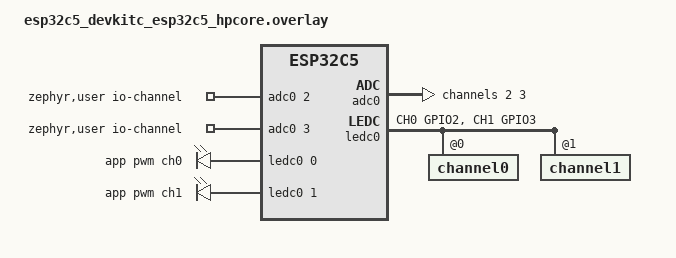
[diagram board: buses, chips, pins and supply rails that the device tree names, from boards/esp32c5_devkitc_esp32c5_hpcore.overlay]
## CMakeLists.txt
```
# SPDX-License-Identifier: Apache-2.0

cmake_minimum_required(VERSION 3.20.0)
find_package(Zephyr REQUIRED HINTS $ENV{ZEPHYR_BASE})
project(app_more_services3)

zephyr_syscall_header(${CMAKE_CURRENT_SOURCE_DIR}/src/svc.h)

target_sources(app PRIVATE src/main.c src/svc.c)
```

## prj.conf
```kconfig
CONFIG_USERSPACE=y
CONFIG_APPLICATION_DEFINED_SYSCALL=y

CONFIG_ADC=y
CONFIG_PWM=y

CONFIG_LOG=y
CONFIG_LOG_MODE_MINIMAL=y
CONFIG_THREAD_NAME=y

CONFIG_MAIN_STACK_SIZE=4096
```

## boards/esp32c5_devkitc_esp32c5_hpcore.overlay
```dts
/*
 * Copyright (c) 2026 Espressif Systems (Shanghai) Co., Ltd.
 *
 * SPDX-License-Identifier: Apache-2.0
 */

#include <zephyr/dt-bindings/pwm/pwm.h>

/ {
	zephyr,user {
		io-channels = <&adc0 2>, <&adc0 3>;
	};

	app_pwm: app_pwm {
		compatible = "pwm-leds";

		app_pwm_ch0: app_pwm_ch0 {
			pwms = <&ledc0 0 PWM_HZ(1000) PWM_POLARITY_NORMAL>;
			label = "app pwm ch0";
		};

		app_pwm_ch1: app_pwm_ch1 {
			pwms = <&ledc0 1 PWM_HZ(1000) PWM_POLARITY_NORMAL>;
			label = "app pwm ch1";
		};
	};

	aliases {
		app-pwm0 = &app_pwm_ch0;
		app-pwm1 = &app_pwm_ch1;
	};
};

/* ADC: two channels. */
&adc0 {
	#address-cells = <1>;
	#size-cells = <0>;
	status = "okay";

	channel@2 {
		reg = <2>;
		zephyr,gain = "ADC_GAIN_1_4";
		zephyr,reference = "ADC_REF_INTERNAL";
		zephyr,acquisition-time = <ADC_ACQ_TIME_DEFAULT>;
		zephyr,resolution = <12>;
	};

	channel@3 {
		reg = <3>;
		zephyr,gain = "ADC_GAIN_1_4";
		zephyr,reference = "ADC_REF_INTERNAL";
		zephyr,acquisition-time = <ADC_ACQ_TIME_DEFAULT>;
		zephyr,resolution = <12>;
	};
};

/* PWM: LEDC channel 0 on GPIO2, channel 1 on GPIO3. */
&pinctrl {
	ledc0_default: ledc0_default {
		group1 {
			pinmux = <LEDC_CH0_GPIO2>, <LEDC_CH1_GPIO3>;
			output-enable;
		};
	};
};

&ledc0 {
	pinctrl-0 = <&ledc0_default>;
	pinctrl-names = "default";
	status = "okay";
	#address-cells = <1>;
	#size-cells = <0>;

	channel0@0 {
		reg = <0x0>;
		timer = <0>;
	};

	channel1@1 {
		reg = <0x1>;
		timer = <0>;
	};
};
```

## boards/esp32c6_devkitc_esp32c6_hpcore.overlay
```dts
/*
 * Copyright (c) 2026 Espressif Systems (Shanghai) Co., Ltd.
 *
 * SPDX-License-Identifier: Apache-2.0
 */

#include <zephyr/dt-bindings/pwm/pwm.h>

/ {
	zephyr,user {
		io-channels = <&adc0 2>, <&adc0 3>;
	};

	app_pwm: app_pwm {
		compatible = "pwm-leds";

		app_pwm_ch: app_pwm_ch {
			pwms = <&ledc0 0 PWM_HZ(1000) PWM_POLARITY_NORMAL>;
			label = "app pwm";
		};
	};

	aliases {
		app-pwm = &app_pwm_ch;
	};
};

/* ADC: two channels. */
&adc0 {
	#address-cells = <1>;
	#size-cells = <0>;
	status = "okay";

	channel@2 {
		reg = <2>;
		zephyr,gain = "ADC_GAIN_1_4";
		zephyr,reference = "ADC_REF_INTERNAL";
		zephyr,acquisition-time = <ADC_ACQ_TIME_DEFAULT>;
		zephyr,resolution = <12>;
	};

	channel@3 {
		reg = <3>;
		zephyr,gain = "ADC_GAIN_1_4";
		zephyr,reference = "ADC_REF_INTERNAL";
		zephyr,acquisition-time = <ADC_ACQ_TIME_DEFAULT>;
		zephyr,resolution = <12>;
	};
};

/* PWM: LEDC channel 0 on GPIO2. */
&pinctrl {
	ledc0_default: ledc0_default {
		group1 {
			pinmux = <LEDC_CH0_GPIO2>;
			output-enable;
		};
	};
};

&ledc0 {
	pinctrl-0 = <&ledc0_default>;
	pinctrl-names = "default";
	status = "okay";
	#address-cells = <1>;
	#size-cells = <0>;

	channel0@0 {
		reg = <0x0>;
		timer = <0>;
	};
};
```

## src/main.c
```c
/*
 * Copyright (c) 2026 Espressif Systems (Shanghai) Co., Ltd.
 *
 * SPDX-License-Identifier: Apache-2.0
 */

/*
 * An app using the analog and PWM subsystems through services. It reads two ADC
 * channels and ramps a PWM output from off to full and back, dimming a pin. The
 * app runs in user mode and reaches the ADC and PWM hardware only through
 * service syscalls.
 */

#include "svc.h"

#include <zephyr/kernel.h>
#include <zephyr/sys/printk.h>
#include <errno.h>

#define STACK_SIZE 2048
#define APP_PRIO   5

extern void svc_init(void);

K_THREAD_STACK_DEFINE(app_stack, STACK_SIZE);
static struct k_thread app_thread;

static void app_entry(void *p1, void *p2, void *p3)
{
	ARG_UNUSED(p1); ARG_UNUSED(p2); ARG_UNUSED(p3);

	/* ADC: read two analog channels. */
	for (int ch = 0; ch < 2; ch++) {
		int v = svc_adc_read(ch);

		printk("  [app] ADC channel %d = %d\n", ch, v);
	}

	/* PWM: ramp the granted channel (0) up and down. */
	printk("  [app] ramping PWM channel 0 (granted)\n");
	for (int p = 0; p <= 100; p += 25) {
		int rc = svc_pwm_set(0, (uint8_t)p);

		printk("  [app] ch0 duty = %d%% (rc=%d)\n", p, rc);
		k_msleep(150);
	}
	svc_pwm_set(0, 0);

	/* PWM: channel 1 was NOT granted - the boundary rejects it. */
	int rc1 = svc_pwm_set(1, 50);

	printk("  [app] ch1 duty 50%% -> rc=%d (expected -EPERM=%d, ungranted)\n",
	       rc1, -EPERM);

	printk("  [app] done - read ADC, drove granted PWM, denied ungranted\n");
}

int main(void)
{
	printk("\n*** more services 3: ADC + PWM (C6) ***\n");
	svc_init();

	/* Grant the app PWM channel 0 only; channel 1 stays denied. */
	svc_pwm_grant(BIT(0));

	k_tid_t t = k_thread_create(&app_thread, app_stack, STACK_SIZE, app_entry,
				    NULL, NULL, NULL, APP_PRIO, K_USER, K_FOREVER);

	k_thread_start(t);
	k_thread_join(t, K_FOREVER);

	printk("\n*** done ***\n");
	return 0;
}
```

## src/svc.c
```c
/*
 * Copyright (c) 2026 Espressif Systems (Shanghai) Co., Ltd.
 *
 * SPDX-License-Identifier: Apache-2.0
 */

#include "svc.h"

#include <zephyr/kernel.h>
#include <zephyr/sys/printk.h>
#include <zephyr/device.h>
#include <zephyr/drivers/adc.h>
#include <zephyr/drivers/pwm.h>
#include <zephyr/internal/syscall_handler.h>

/* ADC channels declared under /zephyr,user. */
#define ADC_NODE DT_PATH(zephyr_user)
static const struct adc_dt_spec adc_ch[] = {
	ADC_DT_SPEC_GET_BY_IDX(ADC_NODE, 0),
	ADC_DT_SPEC_GET_BY_IDX(ADC_NODE, 1),
};
#define ADC_COUNT ARRAY_SIZE(adc_ch)

/* PWM output. */
static const struct pwm_dt_spec pwm_out = PWM_DT_SPEC_GET(DT_ALIAS(app_pwm));

void svc_init(void)
{
	for (int i = 0; i < ADC_COUNT; i++) {
		if (adc_is_ready_dt(&adc_ch[i])) {
			adc_channel_setup_dt(&adc_ch[i]);
		}
	}
}

int z_impl_svc_adc_read(int ch)
{
	if (ch < 0 || ch >= (int)ADC_COUNT || !adc_is_ready_dt(&adc_ch[ch])) {
		return -ENODEV;
	}
	int16_t raw = 0;
	struct adc_sequence seq = {
		.buffer = &raw,
		.buffer_size = sizeof(raw),
	};

	(void)adc_sequence_init_dt(&adc_ch[ch], &seq);
	int rc = adc_read_dt(&adc_ch[ch], &seq);

	return (rc == 0) ? (int)raw : rc;
}

int z_impl_svc_pwm_set(uint8_t percent)
{
	if (!pwm_is_ready_dt(&pwm_out)) {
		return -ENODEV;
	}
	if (percent > 100) {
		percent = 100;
	}
	uint32_t pulse = (uint32_t)((uint64_t)pwm_out.period * percent / 100);

	return pwm_set_pulse_dt(&pwm_out, pulse);
}

#ifdef CONFIG_USERSPACE
static inline int z_vrfy_svc_adc_read(int ch)
{
	return z_impl_svc_adc_read(ch);
}
#include <zephyr/syscalls/svc_adc_read_mrsh.c>

static inline int z_vrfy_svc_pwm_set(uint8_t percent)
{
	return z_impl_svc_pwm_set(percent);
}
#include <zephyr/syscalls/svc_pwm_set_mrsh.c>
#endif
```

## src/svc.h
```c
/*
 * Copyright (c) 2026 Espressif Systems (Shanghai) Co., Ltd.
 *
 * SPDX-License-Identifier: Apache-2.0
 */

#ifndef APP_MORE_SERVICES3_SVC_H_
#define APP_MORE_SERVICES3_SVC_H_

#include <zephyr/kernel.h>

/*
 * A third batch of services touching the analog and PWM subsystems:
 *
 *   svc_adc_read - read a raw value from an ADC channel (open: read-only).
 *   svc_pwm_set  - set the PWM duty on the controllable output, 0..100 percent
 *                  (scoped in a real system; the platform owns the channel).
 *
 * An app reads analog values and dims an output, reaching the ADC and PWM
 * subsystems only through service syscalls.
 */

/* Open: read raw ADC value from channel index @ch. Returns value or negative. */
__syscall int svc_adc_read(int ch);

/* Set PWM duty 0..100 percent on the controllable channel. */
__syscall int svc_pwm_set(uint8_t percent);

#include <zephyr/syscalls/svc.h>

#endif /* APP_MORE_SERVICES3_SVC_H_ */
```
